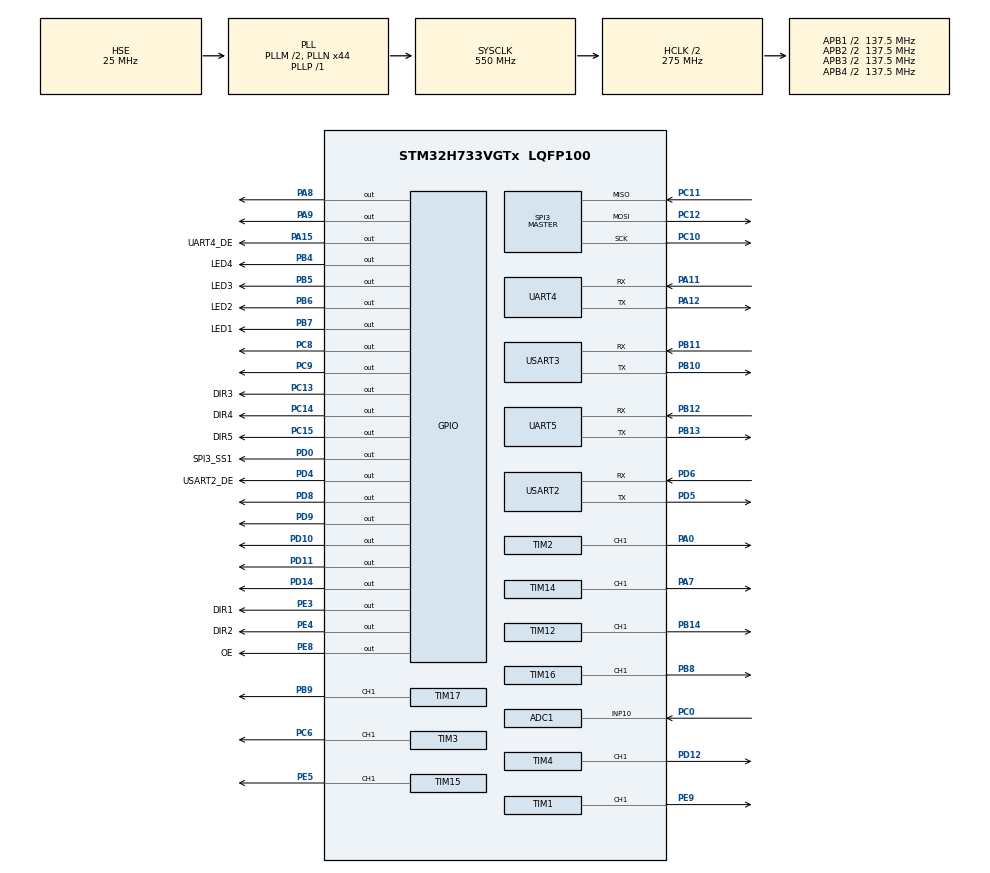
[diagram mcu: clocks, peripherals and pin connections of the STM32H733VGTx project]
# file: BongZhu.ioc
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ADC1.Channel-0\#ChannelRegularConversion=ADC_CHANNEL_10
ADC1.NbrOfConversionFlag=1
ADC1.OffsetNumber-0\#ChannelRegularConversion=ADC_OFFSET_NONE
ADC1.OffsetSignedSaturation-0\#ChannelRegularConversion=DISABLE
ADC1.Rank-0\#ChannelRegularConversion=1
ADC1.SamplingTime-0\#ChannelRegularConversion=ADC_SAMPLETIME_1CYCLE_5
ADC1.master=1
ADC3.Channel-0\#ChannelRegularConversion=ADC_CHANNEL_TEMPSENSOR
ADC3.ContinuousConvMode=ENABLE
ADC3.NbrOfConversionFlag=1
ADC3.OffsetNumber-0\#ChannelRegularConversion=ADC_OFFSET_NONE
ADC3.OffsetSaturation-0\#ChannelRegularConversion=DISABLE
ADC3.OffsetSign-0\#ChannelRegularConversion=ADC3_OFFSET_SIGN_NEGATIVE
ADC3.OffsetSignedSaturation-0\#ChannelRegularConversion=DISABLE
ADC3.Rank-0\#ChannelRegularConversion=1
ADC3.SamplingTime-0\#ChannelRegularConversion=ADC3_SAMPLETIME_12CYCLES_5
CRC.CRCLength=CRC_POLYLENGTH_8B
CRC.DefaultInitValueUse=DEFAULT_INIT_VALUE_DISABLE
CRC.DefaultPolynomialUse=DEFAULT_POLYNOMIAL_DISABLE
CRC.GeneratingPolynomial=X4+X3+X2+X0
CRC.InitValue=0xC4
Mcu.Family=STM32H7
Mcu.Name=STM32H733VGTx
Mcu.Package=LQFP100
NVIC.PriorityGroup=NVIC_PRIORITYGROUP_4
NVIC.USART3_IRQn=true\:0\:0\:false\:false\:true\:true\:true
PA0.Signal=S_TIM2_CH1_ETR
PA11.Mode=Asynchronous
PA11.Signal=UART4_RX
PA12.Mode=Asynchronous
PA12.Signal=UART4_TX
PA13(JTMS/SWDIO).Mode=Trace_Asynchronous_SW
PA13(JTMS/SWDIO).Signal=DEBUG_JTMS-SWDIO
PA14(JTCK/SWCLK).Mode=Trace_Asynchronous_SW
PA14(JTCK/SWCLK).Signal=DEBUG_JTCK-SWCLK
PA15(JTDI).GPIO_Label=UART4_DE
PA15(JTDI).Signal=GPIO_Output
PA3.Signal=S_TIM15_CH2
PA7.Signal=S_TIM14_CH1
PA8.Signal=GPIO_Output
PA9.Signal=GPIO_Output
PB10.Mode=Asynchronous
PB10.Signal=USART3_TX
PB11.Mode=Asynchronous
PB11.Signal=USART3_RX
PB12.Mode=Asynchronous
PB12.Signal=UART5_RX
PB13.Mode=Asynchronous
PB13.Signal=UART5_TX
PB14.Signal=S_TIM12_CH1
PB3(JTDO/TRACESWO).Mode=Trace_Asynchronous_SW
PB3(JTDO/TRACESWO).Signal=DEBUG_JTDO-SWO
PB4(NJTRST).GPIO_Label=LED4
PB4(NJTRST).Signal=GPIO_Output
PB5.GPIO_Label=LED3
PB5.Signal=GPIO_Output
PB6.GPIO_Label=LED2
PB6.Signal=GPIO_Output
PB7.GPIO_Label=LED1
PB7.Signal=GPIO_Output
PB8.Signal=S_TIM16_CH1
PB9.Signal=S_TIM17_CH1
PC0.Signal=ADCx_INP10
PC10.Mode=Full_Duplex_Master
PC10.Signal=SPI3_SCK
PC11.Mode=Full_Duplex_Master
PC11.Signal=SPI3_MISO
PC12.Mode=Full_Duplex_Master
PC12.Signal=SPI3_MOSI
PC13.GPIO_Label=DIR3
PC13.Signal=GPIO_Output
PC14-OSC32_IN.GPIO_Label=DIR4
PC14-OSC32_IN.Signal=GPIO_Output
PC15-OSC32_OUT.GPIO_Label=DIR5
PC15-OSC32_OUT.Signal=GPIO_Output
PC6.Signal=S_TIM3_CH1
PC8.Signal=GPIO_Output
PC9.Signal=GPIO_Output
PD0.GPIO_Label=SPI3_SS1
PD0.Signal=GPIO_Output
PD10.Signal=GPIO_Output
PD11.Signal=GPIO_Output
PD12.Signal=S_TIM4_CH1
PD14.Signal=GPIO_Output
PD4.GPIO_Label=USART2_DE
PD4.Signal=GPIO_Output
PD5.Mode=Asynchronous
PD5.Signal=USART2_TX
PD6.Mode=Asynchronous
PD6.Signal=USART2_RX
PD8.Signal=GPIO_Output
PD9.Signal=GPIO_Output
PE3.GPIO_Label=DIR1
PE3.Signal=GPIO_Output
PE4.GPIO_Label=DIR2
PE4.Signal=GPIO_Output
PE5.Signal=S_TIM15_CH1
PE8.GPIO_Label=OE
PE8.Signal=GPIO_Output
PE9.Signal=S_TIM1_CH1
PH0-OSC_IN.Mode=HSE-External-Oscillator
PH0-OSC_IN.Signal=RCC_OSC_IN
PH1-OSC_OUT.Mode=HSE-External-Oscillator
PH1-OSC_OUT.Signal=RCC_OSC_OUT
ProjectManager.HeapSize=0x200
ProjectManager.StackSize=0x400
ProjectManager.TargetToolchain=STM32CubeIDE
RCC.ADCFreq_Value=96000671.38671875
RCC.APB1Freq_Value=137500000
RCC.APB2Freq_Value=137500000
RCC.APB3Freq_Value=137500000
RCC.APB4Freq_Value=137500000
RCC.CortexFreq_Value=550000000
RCC.D1PPRE=RCC_APB3_DIV2
RCC.D2PPRE1=RCC_APB1_DIV2
RCC.D2PPRE2=RCC_APB2_DIV2
RCC.D3PPRE=RCC_APB4_DIV2
RCC.DIVM1=2
RCC.DIVM2=2
RCC.DIVN1=44
RCC.DIVN2=15
RCC.DIVP1=1
RCC.DIVQ1=3
RCC.EnbaleCSS=true
RCC.HCLKFreq_Value=275000000
RCC.HPRE=RCC_HCLK_DIV2
RCC.PLL2FRACN=2950
RCC.PLLFRACN=0
RCC.PLLSourceVirtual=RCC_PLLSOURCE_HSE
RCC.SYSCLKFreq_VALUE=550000000
RCC.SYSCLKSource=RCC_SYSCLKSOURCE_PLLCLK
RCC.USBFreq_Value=183333333.33333334
SH.ADCx_INP10.0=ADC1_INP10,IN10-Single-Ended
SH.S_TIM12_CH1.0=TIM12_CH1,PWM Generation1 CH1
SH.S_TIM14_CH1.0=TIM14_CH1,PWM Generation1 CH1
SH.S_TIM15_CH1.0=TIM15_CH1,PWM Generation1 CH1
SH.S_TIM15_CH2.0=TIM15_CH2
SH.S_TIM16_CH1.0=TIM16_CH1,PWM Generation1 CH1
SH.S_TIM17_CH1.0=TIM17_CH1,PWM Generation1 CH1
SH.S_TIM1_CH1.0=TIM1_CH1,PWM Generation1 CH1
SH.S_TIM2_CH1_ETR.0=TIM2_CH1,PWM Generation1 CH1
SH.S_TIM3_CH1.0=TIM3_CH1,PWM Generation1 CH1
SH.S_TIM4_CH1.0=TIM4_CH1,PWM Generation1 CH1
SPI3.CalculateBaudRate=91.666664 MBits/s
SPI3.Direction=SPI_DIRECTION_2LINES
SPI3.Mode=SPI_MODE_MASTER
SPI3.VirtualType=VM_MASTER
TIM1.AutoReloadPreload=TIM_AUTORELOAD_PRELOAD_ENABLE
TIM1.Channel-PWM\ Generation1\ CH1=TIM_CHANNEL_1
TIM1.Period=10000
TIM1.Prescaler=5500-1
TIM12.AutoReloadPreload=TIM_AUTORELOAD_PRELOAD_ENABLE
TIM12.Channel-PWM\ Generation1\ CH1=TIM_CHANNEL_1
TIM12.Period=1 - 1
TIM12.Prescaler=550 - 1
TIM12.Pulse-PWM\ Generation1\ CH1=500 - 1
TIM13.AutoReloadPreload=TIM_AUTORELOAD_PRELOAD_ENABLE
TIM13.Period=1-1
TIM13.Prescaler=550 - 1
TIM14.AutoReloadPreload=TIM_AUTORELOAD_PRELOAD_ENABLE
TIM14.Channel=TIM_CHANNEL_1
TIM14.Period=1-1
TIM14.Prescaler=550-1
TIM14.Pulse=500-1
TIM15.AutoReloadPreload=TIM_AUTORELOAD_PRELOAD_ENABLE
TIM15.Channel-PWM\ Generation1\ CH1=TIM_CHANNEL_1
TIM15.Period=10000
TIM15.Prescaler=5500 - 1
TIM16.AutoReloadPreload=TIM_AUTORELOAD_PRELOAD_ENABLE
TIM16.Channel=TIM_CHANNEL_1
TIM16.Period=1-1
TIM16.Prescaler=550-1
TIM16.Pulse=500-1
TIM17.AutoReloadPreload=TIM_AUTORELOAD_PRELOAD_ENABLE
TIM17.Channel=TIM_CHANNEL_1
TIM17.Period=1000
TIM17.Prescaler=550-1
TIM17.Pulse=500-1
TIM2.AutoReloadPreload=TIM_AUTORELOAD_PRELOAD_ENABLE
TIM2.Channel-PWM\ Generation1\ CH1=TIM_CHANNEL_1
TIM2.Period=10000
TIM2.Prescaler=5500- 1
TIM23.Prescaler=275-1
TIM3.AutoReloadPreload=TIM_AUTORELOAD_PRELOAD_ENABLE
TIM3.Channel-PWM\ Generation1\ CH1=TIM_CHANNEL_1
TIM3.Period=10000
TIM3.Prescaler=5500 - 1
TIM4.AutoReloadPreload=TIM_AUTORELOAD_PRELOAD_ENABLE
TIM4.Channel-PWM\ Generation1\ CH1=TIM_CHANNEL_1
TIM4.Period=10000
TIM4.Prescaler=5500-1
USART2.VirtualMode-Asynchronous=VM_ASYNC
USART3.VirtualMode-Asynchronous=VM_ASYNC
VP_ADC3_TempSens_Input.Mode=IN-TempSens
VP_CRC_VS_CRC.Mode=CRC_Activate
VP_TIM12_VS_ClockSourceINT.Mode=Internal
VP_TIM13_VS_ClockSourceINT.Mode=Enable_Timer
VP_TIM14_VS_ClockSourceINT.Mode=Enable_Timer
VP_TIM15_VS_ClockSourceINT.Mode=Internal
VP_TIM16_VS_ClockSourceINT.Mode=Enable_Timer
VP_TIM17_VS_ClockSourceINT.Mode=Enable_Timer
VP_TIM1_VS_ClockSourceINT.Mode=Internal
VP_TIM23_VS_ClockSourceINT.Mode=Internal
VP_TIM24_VS_ClockSourceINT.Mode=Internal
VP_TIM2_VS_ClockSourceINT.Mode=Internal
VP_TIM3_VS_ClockSourceINT.Mode=Internal
VP_TIM4_VS_ClockSourceINT.Mode=Internal
board=custom

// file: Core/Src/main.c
/* USER CODE BEGIN Header */
/**
 ******************************************************************************
 * @file           : main.c
 * @brief          : Main program body
 ******************************************************************************
 * @attention
 *
 * Copyright (c) 2022 STMicroelectronics.
 * All rights reserved.
 *
 * This software is licensed under terms that can be found in the LICENSE file
 * in the root directory of this software component.
 * If no LICENSE file comes with this software, it is provided AS-IS.
 *
 ******************************************************************************
 */
/* USER CODE END Header */
#include "main.h"
#include "adc.h"
#include "crc.h"
#include "spi.h"
#include "tim.h"
#include "usart.h"
#include "gpio.h"

/* USER CODE BEGIN Includes */
#include "kinematic.h"
#include "motor.h"
#include "AMT21.h"
#include "stdio.h"
#include "PID.h"
#include "math.h"
#include "KalmanFilter.h"
#include "ARMsProtocol.h"
#include "stm32h7xx_it.h"
/* USER CODE END Includes */

/* USER CODE BEGIN PD */
#define KALMAN_Q 0.00125
#define KALMAN_R 2000
/* USER CODE END PD */

/* USER CODE BEGIN PV */
/*
 * struct
 */
AMT21 encoders[5];
Stepper_Motor steppers[5];
Servo_Motor servo_motor;
PIDController position_pid_controller[5];
PIDController velocity_pid_controller[5];
KalmanFilter kalman_filter[5];

extern int32_t encoder_config[5];

extern float desired_position[5];
extern ARMsProtocol_HandleTypedef ARMsProtocol_h1;
extern ARMsProtocol_DATA ARMsProtocol_Data;
float desired_velocity[5] = { 0 };

float motor_config[5] = {0};
float desired_motor_position[5] = {0};

int16_t jog_cycle = 0;
int16_t khe_cnt = 0;

uint32_t performance_test = 0;
uint8_t set_zero_flag = 0;
/* USER CODE END PV */

void SystemClock_Config(void);
void PeriphCommonClock_Config(void);
/* USER CODE BEGIN PFP */

/*
 * printf
 */
#ifdef __GNUC__
/* With GCC, small printf (option LD Linker->Libraries->Small printf
 set to 'Yes') calls __io_putchar() */
#define PUTCHAR_PROTOTYPE int __io_putchar(int ch)
#else
#define PUTCHAR_PROTOTYPE int fputc(int ch, FILE *f)
#endif /* __GNUC__ */

/* USER CODE END PFP */

int main(void)
{

  /* MCU Configuration--------------------------------------------------------*/

  /* Reset of all peripherals, Initializes the Flash interface and the Systick. */
  HAL_Init();

  /* Configure the system clock */
  SystemClock_Config();

/* Configure the peripherals common clocks */
  PeriphCommonClock_Config();

  /* Initialize all configured peripherals */
  MX_GPIO_Init();
  MX_ADC1_Init();
  MX_ADC3_Init();
  MX_SPI3_Init();
  MX_TIM1_Init();
  MX_TIM2_Init();
  MX_TIM3_Init();
  MX_TIM4_Init();
  MX_TIM12_Init();
  MX_TIM13_Init();
  MX_TIM14_Init();
  MX_TIM15_Init();
  MX_TIM16_Init();
  MX_TIM17_Init();
  MX_UART4_Init();
  MX_UART5_Init();
  MX_USART2_UART_Init();
  MX_USART3_UART_Init();
  MX_TIM23_Init();
  MX_CRC_Init();
  MX_TIM24_Init();
  /* USER CODE BEGIN 2 */
//	uint32_t timestamp1 = 0;
	uint32_t timestamp2 = 0;
	uint8_t j_num = 0;

//	ARMsProtocol_FUNC_Init();
//	HAL_TIM_Base_Start_IT(&htim24);
	int32_t encoder_unwrap_value[5] = { 0 };
	/*
	 * Servo Initialise
	 */
//	HAL_GPIO_WritePin(OE_GPIO_Port, OE_Pin, 1);
//	servo_initialise(&servo_motor, &htim17, TIM_CHANNEL_1);
	/*
	 * Encoder Initialise
	 */
	AMT21_initialise(&encoders[0], &huart2, 0x2C, USART2_DE_GPIO_Port,
	USART2_DE_Pin);
	AMT21_initialise(&encoders[1], &huart2, 0x70, USART2_DE_GPIO_Port,
	USART2_DE_Pin);
	AMT21_initialise(&encoders[2], &huart2, 0x54, USART2_DE_GPIO_Port,
	USART2_DE_Pin);
	AMT21_initialise(&encoders[4], &huart2, 0xE8, USART2_DE_GPIO_Port,
	USART2_DE_Pin);
	AMT21_initialise(&encoders[3], &huart2, 0xB4, USART2_DE_GPIO_Port,
	USART2_DE_Pin);
	/*
	 * Stepper Initialise
	 */
	stepper_initialise(&steppers[0], &htim1, TIM_CHANNEL_1, DIR1_GPIO_Port,
	DIR1_Pin, 1);//swap 0 -> 1
	stepper_initialise(&steppers[1], &htim2, TIM_CHANNEL_1, DIR2_GPIO_Port,
	DIR2_Pin, 1);
	stepper_initialise(&steppers[2], &htim3, TIM_CHANNEL_1, DIR3_GPIO_Port,
	DIR3_Pin, 0);//swap 1 -> 0
	stepper_initialise(&steppers[4], &htim4, TIM_CHANNEL_1, DIR4_GPIO_Port,
	DIR4_Pin, 0);
	stepper_initialise(&steppers[3], &htim15, TIM_CHANNEL_1, DIR5_GPIO_Port,
	DIR5_Pin, 1);
	/*
	 * Kalman Filter Initialise
	 */
	KalmanFilter_initialise(&kalman_filter[0], 0, 0, 1, 0, 0, 1, KALMAN_R, KALMAN_Q);
	KalmanFilter_initialise(&kalman_filter[1], 0, 0, 1, 0, 0, 1, KALMAN_R, KALMAN_Q);
	KalmanFilter_initialise(&kalman_filter[2], 0, 0, 1, 0, 0, 1, KALMAN_R, KALMAN_Q);
	KalmanFilter_initialise(&kalman_filter[3], 0, 0, 1, 0, 0, 1, KALMAN_R, KALMAN_Q);
	KalmanFilter_initialise(&kalman_filter[4], 0, 0, 1, 0, 0, 1, KALMAN_R, KALMAN_Q);
	/*
	 * Position Pid Initialise
	 */
	PIDController_initialise(&position_pid_controller[0], 1500, 0, 0);
	PIDController_initialise(&position_pid_controller[1], 1500, 0, 0);
	PIDController_initialise(&position_pid_controller[2], 1500, 0, 0);
	PIDController_initialise(&position_pid_controller[3], 1500, 0, 0);
	PIDController_initialise(&position_pid_controller[4], 1500, 0, 0);
	/*
	 * Velocity Pid Initialise
	 */
	PIDController_initialise(&velocity_pid_controller[0], 0, 0, 0);
	PIDController_initialise(&velocity_pid_controller[1], 0, 0, 0);
	PIDController_initialise(&velocity_pid_controller[2], 0, 0, 0);
	PIDController_initialise(&velocity_pid_controller[3], 0, 0, 0);
	PIDController_initialise(&velocity_pid_controller[4], 0, 0, 0);

	HAL_TIM_Base_Start(&htim24);
  /* USER CODE END 2 */

  /* Infinite loop */
  /* USER CODE BEGIN WHILE */
	while (1) {
//		if (set_zero_flag > 0){
//			AMT21_set_zero(&encoders[3]);
//			AMT21_set_zero(&encoders[4]);
//			encoder_config[3] = 0;
//			encoder_config[4] = 0;
//			set_zero_flag = 0;
//		}
//		if (HAL_GetTick() - timestamp1 >= 250) {
//			if (jog_cycle > 0){
//				if (khe_cnt >= 0){
//					delta_khe[1] = 0.0125;
//				}
//				if (khe_cnt < 0){
//					delta_khe[1] = -0.0125;
//				}
//				khe_cnt++;
//				if (khe_cnt == 35){
//					khe_cnt = -34;
//				}
//			}
//			if ((delta_khe[0] != 0)|
//			(delta_khe[1] != 0)|
//			(delta_khe[2] != 0)|
//			(delta_khe[3] != 0)|
//			(delta_khe[4] != 0)
//			) {
//				timestamp1 = HAL_GetTick();
//				joint_config[0] = (2*M_PI * encoder_config[0])/16384.0f;
//				joint_config[1] = (2*M_PI * encoder_config[1])/16384.0f;
//				joint_config[2] = (2*M_PI * encoder_config[2])/16384.0f;
//				float m4 = (2*M_PI * encoder_config[3])/16384.0f;
//				float m5 =  (2*M_PI * encoder_config[4])/16384.0f;
//				joint_config[3] = (m4 + m5) * 0.1125;
//				joint_config[4] = (m4 - m5)/8.0;
//				IVK(joint_config, delta_khe, delta_q);
//				for (int i = 0; i < 5; i++) {
//					desired_position[i] += delta_q[i];
//					delta_khe[i] = 0;
//				}
////			ARMsProtocol_FUNC_Interface();
//			}
//		}
		if (HAL_GetTick() - timestamp2 >= 1) {
			timestamp2 = HAL_GetTick();
			HAL_StatusTypeDef rep = HAL_ERROR;
			encoder_unwrap_value[j_num] = 0;
			while (1) {
				AMT21_read_value(&(encoders[j_num]));
				rep = AMT21_check_value(&(encoders[j_num]));
				if (rep == HAL_OK) {
					encoder_unwrap_value[j_num] = AMT21_unwrap(
							(int32_t) encoders[j_num].position,
							(int32_t) encoders[j_num].prev_position);
					encoders[j_num].prev_position = encoders[j_num].position;
					break;
				}
			}
			if ((j_num == 0)|(j_num == 2)|(j_num == 3)){
				encoder_unwrap_value[j_num] = encoder_unwrap_value[j_num] * -1;
			}
			encoder_config[j_num] = encoder_config[j_num]
					+ encoder_unwrap_value[j_num];
//			KalmanFilter_Update(&kalman_filter[j_num], encoder_config[j_num]);

			motor_config[0] = ((2*M_PI * encoder_config[0])/16384.0f) * (25.0f/9.0f);
			motor_config[1] = ((2*M_PI * encoder_config[1])/16384.0f) * 27.0;
			motor_config[2] = 22.5 * sin((2*M_PI * encoder_config[2])/16384.0f);
			motor_config[3] = (2*M_PI * encoder_config[3])/16384.0f; //checked
			motor_config[4] = (2*M_PI * encoder_config[4])/16384.0f; //checked
			/*
			 * Position Controller
			 */
			PIDController_update(&position_pid_controller[j_num],
					desired_position[j_num], motor_config[j_num]);
			stepper_set_speed(&steppers[j_num],
					position_pid_controller[j_num].out);
			j_num++;
			if (j_num == 5) {
				j_num = 0;
			}
		}
    /* USER CODE END WHILE */

	}
}

void SystemClock_Config(void)
{
  RCC_OscInitTypeDef RCC_OscInitStruct = {0};
  RCC_ClkInitTypeDef RCC_ClkInitStruct = {0};

  /** Supply configuration update enable
  */
  HAL_PWREx_ConfigSupply(PWR_LDO_SUPPLY);
  /** Configure the main internal regulator output voltage
  */
  __HAL_PWR_VOLTAGESCALING_CONFIG(PWR_REGULATOR_VOLTAGE_SCALE0);

  while(!__HAL_PWR_GET_FLAG(PWR_FLAG_VOSRDY)) {}
  /** Macro to configure the PLL clock source
  */
  __HAL_RCC_PLL_PLLSOURCE_CONFIG(RCC_PLLSOURCE_HSE);
  /** Initializes the RCC Oscillators according to the specified parameters
  * in the RCC_OscInitTypeDef structure.
  */
  RCC_OscInitStruct.OscillatorType = RCC_OSCILLATORTYPE_HSE;
  RCC_OscInitStruct.HSEState = RCC_HSE_ON;
  RCC_OscInitStruct.PLL.PLLState = RCC_PLL_ON;
  RCC_OscInitStruct.PLL.PLLSource = RCC_PLLSOURCE_HSE;
  RCC_OscInitStruct.PLL.PLLM = 2;
  RCC_OscInitStruct.PLL.PLLN = 44;
  RCC_OscInitStruct.PLL.PLLP = 1;
  RCC_OscInitStruct.PLL.PLLQ = 3;
  RCC_OscInitStruct.PLL.PLLR = 2;
  RCC_OscInitStruct.PLL.PLLRGE = RCC_PLL1VCIRANGE_3;
  RCC_OscInitStruct.PLL.PLLVCOSEL = RCC_PLL1VCOWIDE;
  RCC_OscInitStruct.PLL.PLLFRACN = 0;
  if (HAL_RCC_OscConfig(&RCC_OscInitStruct) != HAL_OK)
  {
    Error_Handler();
  }
  /** Initializes the CPU, AHB and APB buses clocks
  */
  RCC_ClkInitStruct.ClockType = RCC_CLOCKTYPE_HCLK|RCC_CLOCKTYPE_SYSCLK
                              |RCC_CLOCKTYPE_PCLK1|RCC_CLOCKTYPE_PCLK2
                              |RCC_CLOCKTYPE_D3PCLK1|RCC_CLOCKTYPE_D1PCLK1;
  RCC_ClkInitStruct.SYSCLKSource = RCC_SYSCLKSOURCE_PLLCLK;
  RCC_ClkInitStruct.SYSCLKDivider = RCC_SYSCLK_DIV1;
  RCC_ClkInitStruct.AHBCLKDivider = RCC_HCLK_DIV2;
  RCC_ClkInitStruct.APB3CLKDivider = RCC_APB3_DIV2;
  RCC_ClkInitStruct.APB1CLKDivider = RCC_APB1_DIV2;
  RCC_ClkInitStruct.APB2CLKDivider = RCC_APB2_DIV2;
  RCC_ClkInitStruct.APB4CLKDivider = RCC_APB4_DIV2;

  if (HAL_RCC_ClockConfig(&RCC_ClkInitStruct, FLASH_LATENCY_3) != HAL_OK)
  {
    Error_Handler();
  }
  /** Enables the Clock Security System
  */
  HAL_RCC_EnableCSS();
}

void PeriphCommonClock_Config(void)
{
  RCC_PeriphCLKInitTypeDef PeriphClkInitStruct = {0};

  /** Initializes the peripherals clock
  */
  PeriphClkInitStruct.PeriphClockSelection = RCC_PERIPHCLK_ADC;
  PeriphClkInitStruct.PLL2.PLL2M = 2;
  PeriphClkInitStruct.PLL2.PLL2N = 15;
  PeriphClkInitStruct.PLL2.PLL2P = 2;
  PeriphClkInitStruct.PLL2.PLL2Q = 2;
  PeriphClkInitStruct.PLL2.PLL2R = 2;
  PeriphClkInitStruct.PLL2.PLL2RGE = RCC_PLL2VCIRANGE_3;
  PeriphClkInitStruct.PLL2.PLL2VCOSEL = RCC_PLL2VCOWIDE;
  PeriphClkInitStruct.PLL2.PLL2FRACN = 2950;
  PeriphClkInitStruct.AdcClockSelection = RCC_ADCCLKSOURCE_PLL2;
  if (HAL_RCCEx_PeriphCLKConfig(&PeriphClkInitStruct) != HAL_OK)
  {
    Error_Handler();
  }
}

/* USER CODE BEGIN 4 */

PUTCHAR_PROTOTYPE {
	/* Place your implementation of fputc here */
	/* e.g. write a character to the EVAL_COM1 and Loop until the end of transmission */
	HAL_UART_Transmit(&huart3, (uint8_t*) &ch, 1, 1);

	return ch;
}

void HAL_TIM_PeriodElapsedCallback(TIM_HandleTypeDef *htim) {
	if (htim == &htim24);
}
/* USER CODE END 4 */

void Error_Handler(void)
{
	__disable_irq();
	while (1) {
	}
}
